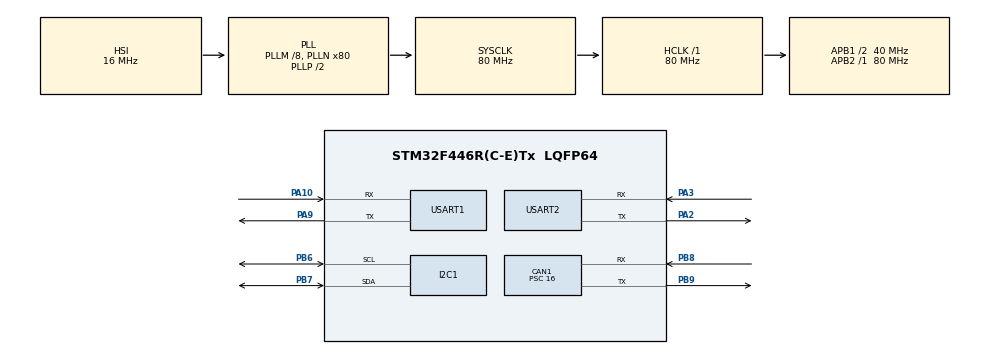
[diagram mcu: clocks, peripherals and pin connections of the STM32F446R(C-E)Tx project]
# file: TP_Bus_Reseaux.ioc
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CAN1.BS1=CAN_BS1_2TQ
CAN1.BS2=CAN_BS2_2TQ
CAN1.CalculateBaudRate=500000
CAN1.CalculateTimeBit=2000
CAN1.CalculateTimeQuantum=400.0
CAN1.Prescaler=16
Mcu.Family=STM32F4
Mcu.Name=STM32F446R(C-E)Tx
Mcu.Package=LQFP64
NVIC.PriorityGroup=NVIC_PRIORITYGROUP_4
NVIC.USART2_IRQn=true\:0\:0\:false\:false\:true\:true\:true\:true
PA10.Mode=Asynchronous
PA10.Signal=USART1_RX
PA2.Mode=Asynchronous
PA2.Signal=USART2_TX
PA3.Mode=Asynchronous
PA3.Signal=USART2_RX
PA9.Mode=Asynchronous
PA9.Signal=USART1_TX
PB6.Mode=I2C
PB6.Signal=I2C1_SCL
PB7.Mode=I2C
PB7.Signal=I2C1_SDA
PB8.Mode=CAN_Activate
PB8.Signal=CAN1_RX
PB9.Mode=CAN_Activate
PB9.Signal=CAN1_TX
ProjectManager.HeapSize=0x200
ProjectManager.StackSize=0x400
ProjectManager.TargetToolchain=STM32CubeIDE
RCC.AHBFreq_Value=80000000
RCC.APB1CLKDivider=RCC_HCLK_DIV2
RCC.APB1Freq_Value=40000000
RCC.APB1TimFreq_Value=80000000
RCC.APB2Freq_Value=80000000
RCC.APB2TimFreq_Value=80000000
RCC.CortexFreq_Value=80000000
RCC.HCLKFreq_Value=80000000
RCC.PLLM=8
RCC.PLLN=80
RCC.SYSCLKFreq_VALUE=80000000
RCC.SYSCLKSource=RCC_SYSCLKSOURCE_PLLCLK
RCC.USBFreq_Value=80000000
RCC.VCOOutputFreq_Value=160000000
USART1.VirtualMode=VM_ASYNC
USART2.VirtualMode=VM_ASYNC
board=custom

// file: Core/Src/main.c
/* USER CODE BEGIN Header */
/**
 ******************************************************************************
 * @file           : main.c
 * @brief          : Main program body
 * @authors		   : Alix Havret et Loïcia Koehl
 * @last update    : 16/11/2022
 ******************************************************************************
 * @attention
 *
 * Copyright (c) 2022 STMicroelectronics.
 * All rights reserved.
 *
 * This software is licensed under terms that can be found in the LICENSE file
 * in the root directory of this software component.
 * If no LICENSE file comes with this software, it is provided AS-IS.
 *
 ******************************************************************************
 */
/* USER CODE END Header */
#include "main.h"
#include "can.h"
#include "i2c.h"
#include "usart.h"
#include "gpio.h"

/* USER CODE BEGIN Includes */

#include <stdio.h>
#include "BMP280_simple.h"
/* USER CODE END Includes */

/* USER CODE BEGIN PV */
char buffer[10];
extern int pt;
uint8_t aData[8];
uint32_t pTxMailbox;
extern CAN_TxHeaderTypeDef pHeader;
/* USER CODE END PV */

void SystemClock_Config(void);

int main(void)
{

	/* MCU Configuration--------------------------------------------------------*/

	/* Reset of all peripherals, Initializes the Flash interface and the Systick. */
	HAL_Init();

	/* Configure the system clock */
	SystemClock_Config();

	/* Initialize all configured peripherals */
	MX_GPIO_Init();
	MX_CAN1_Init();
	MX_I2C1_Init();
	MX_USART1_UART_Init();
	MX_USART2_UART_Init();
	/* USER CODE BEGIN 2 */

	printf("\r\nChecking for BMP280\r\n");
	BMP280_check();
	printf("\r\nConfigure BMP280\r\n");
	BMP280_init();
	main_comm(); //Setup STM32 with sensor
	BMP280_get_calib_values(); //Sensor calibration

	//bus CAN : un seul quart de tour dans le sens négatif
	HAL_CAN_Start(&hcan1);
	aData[0]=0x5A; //90 degres
	aData[1]=0x01; //négatif
	HAL_CAN_AddTxMessage(&hcan1, &pHeader, aData, &pTxMailbox);

	/* USER CODE END 2 */

	/* Infinite loop */
	/* USER CODE BEGIN WHILE */
	while (1)
	{

		//Bus CAN : demi-tour en continu
		aData[1]=0;
		HAL_CAN_AddTxMessage(&hcan1, &pHeader, aData, &pTxMailbox);
		HAL_Delay(1000);
		aData[1]=1;
		HAL_CAN_AddTxMessage(&hcan1, &pHeader, aData, &pTxMailbox);
		//BUS CAN END

		// Température et pression
		BMP280_get_temperature();
		BMP280_get_pressure();
		HAL_Delay(1000);

		/* USER CODE END WHILE */

	}
}

void SystemClock_Config(void)
{
	RCC_OscInitTypeDef RCC_OscInitStruct = {0};
	RCC_ClkInitTypeDef RCC_ClkInitStruct = {0};

	/** Configure the main internal regulator output voltage
	 */
	__HAL_RCC_PWR_CLK_ENABLE();
	__HAL_PWR_VOLTAGESCALING_CONFIG(PWR_REGULATOR_VOLTAGE_SCALE3);

	/** Initializes the RCC Oscillators according to the specified parameters
	 * in the RCC_OscInitTypeDef structure.
	 */
	RCC_OscInitStruct.OscillatorType = RCC_OSCILLATORTYPE_HSI;
	RCC_OscInitStruct.HSIState = RCC_HSI_ON;
	RCC_OscInitStruct.HSICalibrationValue = RCC_HSICALIBRATION_DEFAULT;
	RCC_OscInitStruct.PLL.PLLState = RCC_PLL_ON;
	RCC_OscInitStruct.PLL.PLLSource = RCC_PLLSOURCE_HSI;
	RCC_OscInitStruct.PLL.PLLM = 8;
	RCC_OscInitStruct.PLL.PLLN = 80;
	RCC_OscInitStruct.PLL.PLLP = RCC_PLLP_DIV2;
	RCC_OscInitStruct.PLL.PLLQ = 2;
	RCC_OscInitStruct.PLL.PLLR = 2;
	if (HAL_RCC_OscConfig(&RCC_OscInitStruct) != HAL_OK)
	{
		Error_Handler();
	}

	/** Initializes the CPU, AHB and APB buses clocks
	 */
	RCC_ClkInitStruct.ClockType = RCC_CLOCKTYPE_HCLK|RCC_CLOCKTYPE_SYSCLK
			|RCC_CLOCKTYPE_PCLK1|RCC_CLOCKTYPE_PCLK2;
	RCC_ClkInitStruct.SYSCLKSource = RCC_SYSCLKSOURCE_PLLCLK;
	RCC_ClkInitStruct.AHBCLKDivider = RCC_SYSCLK_DIV1;
	RCC_ClkInitStruct.APB1CLKDivider = RCC_HCLK_DIV2;
	RCC_ClkInitStruct.APB2CLKDivider = RCC_HCLK_DIV1;

	if (HAL_RCC_ClockConfig(&RCC_ClkInitStruct, FLASH_LATENCY_2) != HAL_OK)
	{
		Error_Handler();
	}
}

void Error_Handler(void)
{
	__disable_irq();
	while (1)
	{
	}
}
